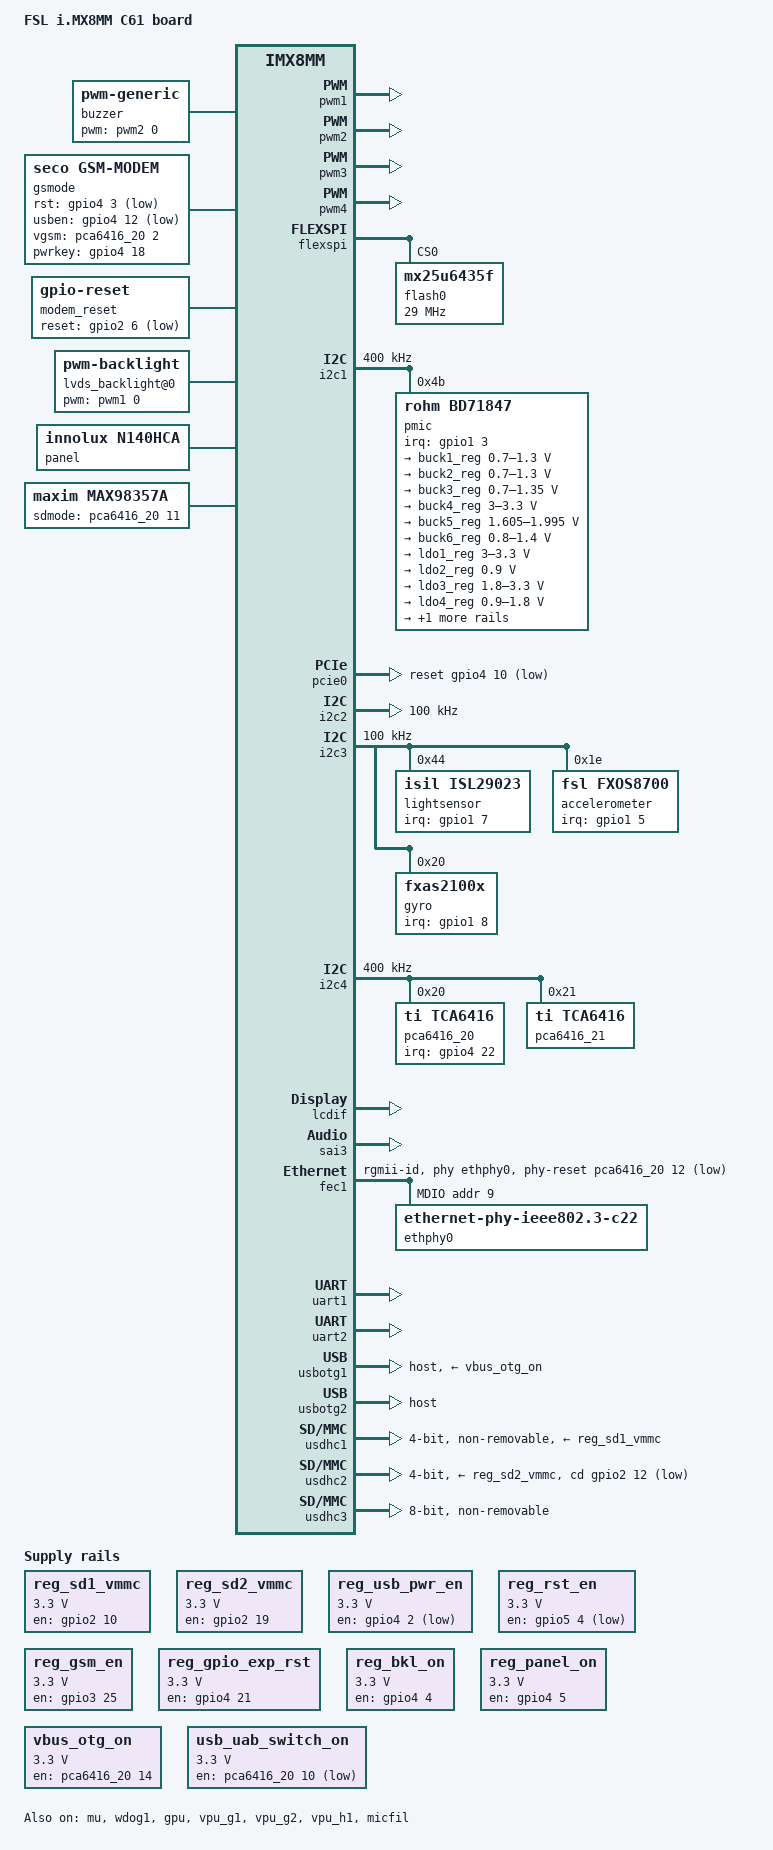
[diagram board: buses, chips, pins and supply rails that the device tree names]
/*
 * Copyright 2018 NXP
 *
 * This program is free software; you can redistribute it and/or
 * modify it under the terms of the GNU General Public License
 * as published by the Free Software Foundation; either version 2
 * of the License, or (at your option) any later version.
 *
 * This program is distributed in the hope that it will be useful,
 * but WITHOUT ANY WARRANTY; without even the implied warranty of
 * MERCHANTABILITY or FITNESS FOR A PARTICULAR PURPOSE.  See the
 * GNU General Public License for more details.
 */

/dts-v1/;

#include <dt-bindings/usb/pd.h>
#include "seco-imx8mm.dtsi"
#include "dt-bindings/net/ti-dp83867.h"

/ {
	model = "FSL i.MX8MM C61 board";
	compatible = "fsl,imx8mm-evk","seco,seco-imx8mm-c61", "fsl,imx8mm";

	chosen {
		bootargs = "console=ttymxc1,115200 earlycon=ec_imx6q,0x30890000,115200";
		stdout-path = &uart2;
	};

        apx_wdog: apxwdog {
                /* 
                 * Low Level Init for: 
                 * SAI1_TXD6 = WD_EN
                 * SAI1_TXD7 = WD_TRG
                */
                compatible = "seco,apx-wdog";
                apx,trigger_iomux   = <0x30330148>;
                apx,trigger_padctrl = <0x303303b0>;
                apx,trigger_base    = <0x30220000>;
                apx,trigger_num     = <21>;
                apx,en_iomux        = <0x3033014c>;
                apx,en_padctrl      = <0x303203b4>;
                apx,en_base         = <0x30220000>;
                apx,en_num          = <22>;
                apx,state           = <1>;
        };

        buzzer {
                compatible      = "pwm-generic";
                pwms = <&pwm2 0 500000000>;
                pinctrl-0     = <&pinctrl_pwm2_out>;
                max-duty        = <255>;
                dft-duty        = <128>;
                pwm-period-ns   = <5000000>;
                period-ns-min   = <150>;
                period-ns-max   = <50000000>;
                pwm-id          = <1>;
                enable          = <0>;
        };
	
	gsmode {
		compatible = "seco,gsm-modem";
		pinctrl-names = "default";
		pinctrl-0     = <&pinctrl_gsm_modem>;
		rst-gpios = <&gpio4 3 GPIO_ACTIVE_LOW>; 
		usben-gpios = <&gpio4 12 GPIO_ACTIVE_LOW>;
		vgsm-gpios = <&pca6416_20 2 GPIO_ACTIVE_HIGH>;
		pwrkey-gpios = <&gpio4 18 GPIO_ACTIVE_HIGH>;
		status = "okay";
	};

	modem_reset: modem-reset {
		compatible = "gpio-reset";
		reset-gpios = <&gpio2 6 GPIO_ACTIVE_LOW>;
		reset-delay-us = <2000>;
		reset-post-delay-ms = <40>;
		#reset-cells = <0>;
	};

	regulators {
		compatible = "simple-bus";
		#address-cells = <1>;
		#size-cells = <0>;

		reg_sd1_vmmc: sd1_regulator {
			compatible = "regulator-fixed";
			regulator-name = "WLAN_EN";
			regulator-min-microvolt = <3300000>;
			regulator-max-microvolt = <3300000>;
			gpio = <&gpio2 10 GPIO_ACTIVE_HIGH>;
			off-on-delay = <20000>;
			startup-delay-us = <100>;
			enable-active-high;
		};

		reg_sd2_vmmc: sd2_regulator {
			compatible = "regulator-fixed";
			regulator-name = "SD2 PWR_EN";
			regulator-min-microvolt = <3300000>;
			regulator-max-microvolt = <3300000>;
			gpio = <&gpio2 19 GPIO_ACTIVE_HIGH>;
			off-on-delay = <20000>;
			startup-delay-us = <100>;
			enable-active-high;
		};

		reg_usb_pwr_en: usb2_pwren_regulator {
			compatible = "regulator-fixed";
			regulator-name = "USB_PWR_EN";
			regulator-min-microvolt = <3300000>;
			regulator-max-microvolt = <3300000>;
			gpio = <&gpio4 2 GPIO_ACTIVE_HIGH>;
			enable-active-low;
			regulator-boot-on;
                        regulator-always-on;
		};

		reg_rst_en: rsten_regulator {
			compatible = "regulator-fixed";
			regulator-name = "RST_EN";
			regulator-min-microvolt = <3300000>;
			regulator-max-microvolt = <3300000>;
			gpio = <&gpio5 4 GPIO_ACTIVE_HIGH>;
			enable-active-low;
			regulator-boot-on;
                        regulator-always-on;
		};

		reg_gsm_en: gsmen_regulator {
			compatible = "regulator-fixed";
			regulator-name = "GSM_EN";
			regulator-min-microvolt = <3300000>;
			regulator-max-microvolt = <3300000>;
			gpio = <&gpio3 25 GPIO_ACTIVE_HIGH>;
			enable-active-high;
			regulator-boot-on;
                        regulator-always-on;
		};

		reg_gpio_exp_rst: gpio_exp_reset {
			compatible = "regulator-fixed";
			regulator-name = "GPIO_EXPANDER_RST";
			regulator-min-microvolt = <3300000>;
			regulator-max-microvolt = <3300000>;
			gpio = <&gpio4 21 GPIO_ACTIVE_HIGH>;
			enable-active-high;
			regulator-boot-on;
                        regulator-always-on;
		};

		reg_bkl_on: bklon {
                        compatible = "regulator-fixed";
                        regulator-name = "BKL ON";
                        regulator-min-microvolt = <3300000>;
                        regulator-max-microvolt = <3300000>;
                        gpio = <&gpio4 4 GPIO_ACTIVE_HIGH>;
			off-on-delay = <20000>;
                        startup-delay-us = <1000>;
                        enable-active-high;
                        regulator-always-on;
			regulator-boot-on;
                };

		reg_panel_on: panelon {
                        compatible = "regulator-fixed";
                        regulator-name = "PANEL ON";
                        regulator-min-microvolt = <3300000>;
                        regulator-max-microvolt = <3300000>;
                        gpio = <&gpio4 5 GPIO_ACTIVE_HIGH>;
                        enable-active-high;
                        regulator-always-on;
			regulator-boot-on;
                };

		vbus_otg_on: vbusotgon {
                        compatible = "regulator-fixed";
                        regulator-name = "VBUS_OTG_ON";
                        regulator-min-microvolt = <3300000>;
                        regulator-max-microvolt = <3300000>;
                        gpio = <&pca6416_20 14 GPIO_ACTIVE_HIGH>;
                        enable-active-high;
                        regulator-always-on;
                };
		/* 
		 * MODEM Switch regulator is enabled by dtbo 
		 * when modem is present
		 */
		usb_uab_switch_on: usbuabon {
                        compatible = "regulator-fixed";
                        regulator-name = "USB_UAB_SWITCH_ON";
                        regulator-min-microvolt = <3300000>;
                        regulator-max-microvolt = <3300000>;
                        gpio = <&pca6416_20 10 GPIO_ACTIVE_LOW>;
	                enable-active-low;
                };


	};

		lvds_backlight@0 {
			compatible = "pwm-backlight";
			pwms = <&pwm1 0 50000>;

			brightness-levels = < 0  1  2  3  4  5  6  7  8  9
					     10 11 12 13 14 15 16 17 18 19
					     20 21 22 23 24 25 26 27 28 29
					     30 31 32 33 34 35 36 37 38 39
					     40 41 42 43 44 45 46 47 48 49
					     50 51 52 53 54 55 56 57 58 59
					     60 61 62 63 64 65 66 67 68 69
					     70 71 72 73 74 75 76 77 78 79
					     80 81 82 83 84 85 86 87 88 89
					     90 91 92 93 94 95 96 97 98 99
					    100>;
			default-brightness-level = <100>;
		};

                panel: edp_panel {
                        compatible = "innolux,n140hca";
                        #address-cells = <1>;
                        #size-cells = <0>;
                };

	max98357a: max98357a@0 {
                compatible = "maxim,max98357a";
                pinctrl-names = "default";
                sdmode-gpios = <&pca6416_20 11 GPIO_ACTIVE_HIGH>;
                sdmode-delay = <2>;
                #sound-dai-cells = <0>;
                status = "okay";
        };

	sound {
		compatible = "simple-audio-card";
		simple-audio-card,name = "max98457a";
		simple-audio-card,format = "i2s";
		simple-audio-card,widgets = "Speaker", "Speakers";
		simple-audio-card,routing = "Speakers", "Speaker";
		simple-audio-card,bitclock-master = <&cpu_dai>;
		simple-audio-card,frame-master = <&cpu_dai>;
		    
		cpu_dai: simple-audio-card,cpu {
			sound-dai = <&sai3>;
		};
		codec_dai: simple-audio-card,codec {
			sound-dai = <&max98357a>;
		};
	};
	
	sound-micfil {
                compatible = "fsl,imx-audio-micfil";
                model = "imx-audio-micfil";
                cpu-dai = <&micfil>;
        };
};

&clk {
	assigned-clocks = <&clk IMX8MM_AUDIO_PLL1>, <&clk IMX8MM_AUDIO_PLL2>;
	assigned-clock-rates = <786432000>, <722534400>;
};

&iomuxc {
	pinctrl-names = "default";
	pinctrl-0 = <&pinctrl_hog &pinctrl_io_header_p1 &pinctrl_io_header_p2>;

	seco-imx8mm-c61 {
		pinctrl_hog: hoggrp {
                        fsl,pins = <
				MX8MM_IOMUXC_SAI1_RXD6_GPIO4_IO8		0x19
				MX8MM_IOMUXC_SAI2_MCLK_GPIO4_IO27		0x0
				MX8MM_IOMUXC_SAI5_MCLK_GPIO3_IO25		0x19
				/* GPIO EXPANDER RESET */
				MX8MM_IOMUXC_SAI2_RXFS_GPIO4_IO21		0x19
				/* USB HUB RESET */
				MX8MM_IOMUXC_SAI1_RXD0_GPIO4_IO2		0x19
				/* EDP Power Down Bridge Enable */
				MX8MM_IOMUXC_GPIO1_IO11_GPIO1_IO11		0x19
				MX8MM_IOMUXC_SAI1_RXD2_GPIO4_IO4		0x19
				MX8MM_IOMUXC_SAI1_RXD3_GPIO4_IO5		0x19
				/* LEDS */
				MX8MM_IOMUXC_SAI1_TXD2_GPIO4_IO14		0x19 /* BLUE1 GATE GPIO 110*/
				MX8MM_IOMUXC_SAI1_TXD4_GPIO4_IO16		0x19 /* RED1 GATE GPIO 112*/
				MX8MM_IOMUXC_SAI1_RXD5_GPIO4_IO7		0x19 /* GREEN1 GATE GPIO 103 */
				
				MX8MM_IOMUXC_SAI1_TXC_GPIO4_IO11		0x0 /* EXT_PCIE_WAKE */ 	
				MX8MM_IOMUXC_SAI3_RXFS_GPIO4_IO28		0x0 /* RTC_INT */
			>;
		};

		pinctrl_io_header_p1: io_header_p1_grp {
                        fsl,pins = <
                        >;
                };

		pinctrl_io_header_p2: io_header_p2_grp {
                        fsl,pins = <
                        >;
                };

		pinctrl_csi_pwn: csi_pwn_grp {
			fsl,pins = <
				MX8MM_IOMUXC_SD1_STROBE_GPIO2_IO11 		0x19
			>;
		};

		pinctrl_csi_rst: csi_rst_grp {
			fsl,pins = <
				MX8MM_IOMUXC_SD1_DATA7_GPIO2_IO9 		0x19
			>;
		};

		pinctrl_mipi_dsi_en: mipi_dsi_en {
			fsl,pins = <
				MX8MM_IOMUXC_GPIO1_IO08_GPIO1_IO8		0x16
			>;
		};

		pinctrl_i2c2_synaptics_dsx_io: synaptics_dsx_iogrp {
			fsl,pins = <
				MX8MM_IOMUXC_GPIO1_IO09_GPIO1_IO9		0x19	/* Touch int */
			>;
		};

		pinctrl_fec1: fec1grp {
			fsl,pins = <
                                MX8MM_IOMUXC_ENET_MDC_ENET1_MDC         0x3
                                MX8MM_IOMUXC_ENET_MDIO_ENET1_MDIO       0x3
                                MX8MM_IOMUXC_ENET_TD3_ENET1_RGMII_TD3   0x1f
                                MX8MM_IOMUXC_ENET_TD2_ENET1_RGMII_TD2   0x1f
                                MX8MM_IOMUXC_ENET_TD1_ENET1_RGMII_TD1   0x1f
                                MX8MM_IOMUXC_ENET_TD0_ENET1_RGMII_TD0   0x1f
                                MX8MM_IOMUXC_ENET_RD3_ENET1_RGMII_RD3   0x91
                                MX8MM_IOMUXC_ENET_RD2_ENET1_RGMII_RD2   0x91
                                MX8MM_IOMUXC_ENET_RD1_ENET1_RGMII_RD1   0x91
                                MX8MM_IOMUXC_ENET_RD0_ENET1_RGMII_RD0   0x91
                                MX8MM_IOMUXC_ENET_TXC_ENET1_RGMII_TXC   0x1f
                                MX8MM_IOMUXC_ENET_RXC_ENET1_RGMII_RXC   0x91
                                MX8MM_IOMUXC_ENET_RX_CTL_ENET1_RGMII_RX_CTL     0x91
                                MX8MM_IOMUXC_ENET_TX_CTL_ENET1_RGMII_TX_CTL     0x1f

			>;
		};

		pinctrl_flexspi0: flexspi0grp {
			fsl,pins = <
				MX8MM_IOMUXC_NAND_ALE_QSPI_A_SCLK		0x1c2
				MX8MM_IOMUXC_NAND_CE0_B_QSPI_A_SS0_B		0x82
				MX8MM_IOMUXC_NAND_DATA00_QSPI_A_DATA0		0x82
				MX8MM_IOMUXC_NAND_DATA01_QSPI_A_DATA1		0x82
				MX8MM_IOMUXC_NAND_DATA02_QSPI_A_DATA2		0x82
				MX8MM_IOMUXC_NAND_DATA03_QSPI_A_DATA3		0x82
			>;
		};

		pinctrl_i2c1: i2c1grp {
			fsl,pins = <
				MX8MM_IOMUXC_I2C1_SCL_I2C1_SCL			0x400001c3
				MX8MM_IOMUXC_I2C1_SDA_I2C1_SDA			0x400001c3
			>;
		};

		pinctrl_i2c2: i2c2grp {
			fsl,pins = <
				MX8MM_IOMUXC_I2C2_SCL_I2C2_SCL			0x400001c3
				MX8MM_IOMUXC_I2C2_SDA_I2C2_SDA			0x400001c3
			>;
		};

		pinctrl_i2c3: i2c3grp {
			fsl,pins = <
				MX8MM_IOMUXC_I2C3_SCL_I2C3_SCL			0x400001c3
				MX8MM_IOMUXC_I2C3_SDA_I2C3_SDA			0x400001c3
			>;
		};

		pinctrl_i2c4: i2c4grp {
			fsl,pins = <
				MX8MM_IOMUXC_I2C4_SCL_I2C4_SCL			0x400001c3
				MX8MM_IOMUXC_I2C4_SDA_I2C4_SDA			0x400001c3
			>;
		};

		pinctrl_pmic: pmicirq {
			fsl,pins = <
				MX8MM_IOMUXC_GPIO1_IO03_GPIO1_IO3		0x41
			>;
		};

		pinctrl_uart1: uart1grp {
			fsl,pins = <
				MX8MM_IOMUXC_UART1_RXD_UART1_DCE_RX	0x140
				MX8MM_IOMUXC_UART1_TXD_UART1_DCE_TX	0x140
				MX8MM_IOMUXC_UART3_RXD_UART1_DCE_CTS_B	0x140
				MX8MM_IOMUXC_UART3_TXD_UART1_DCE_RTS_B	0x140
				MX8MM_IOMUXC_SD1_DATA4_GPIO2_IO6	0x19
			>;
		};

		pinctrl_uart2: uart2grp {
			fsl,pins = <
				MX8MM_IOMUXC_UART2_RXD_UART2_DCE_RX	0x140
				MX8MM_IOMUXC_UART2_TXD_UART2_DCE_TX	0x140
			>;
		};

		pinctrl_spi1: spi1grp {
			fsl,pins = <
				MX8MM_IOMUXC_ECSPI1_SCLK_ECSPI1_SCLK		0x140
				MX8MM_IOMUXC_ECSPI1_MOSI_ECSPI1_MOSI 		0x140
				MX8MM_IOMUXC_ECSPI1_SS0_GPIO5_IO9 		0x140
				MX8MM_IOMUXC_ECSPI1_MISO_ECSPI1_MISO 		0x140
			>;
		};

		pinctrl_can1_int: can1grp {
			fsl,pins = <
				MX8MM_IOMUXC_SAI3_RXD_GPIO4_IO30 		0x41
			>;
		};

		pinctrl_spi2: spi2grp {
			fsl,pins = <
				MX8MM_IOMUXC_ECSPI2_SCLK_ECSPI2_SCLK		0x140
				MX8MM_IOMUXC_ECSPI2_MOSI_ECSPI2_MOSI 		0x140
				MX8MM_IOMUXC_ECSPI2_SS0_GPIO5_IO13		0x140
				MX8MM_IOMUXC_ECSPI2_MISO_ECSPI2_MISO 		0x140
				MX8MM_IOMUXC_SPDIF_RX_GPIO5_IO4			0x140
			>;
		};

                pinctrl_can2_int: can2grp {
                        fsl,pins = <
                                MX8MM_IOMUXC_SAI3_RXC_GPIO4_IO29		0x41
                        >;
                };

		pinctrl_uart3: uart3grp {
			fsl,pins = <
				MX8MM_IOMUXC_ECSPI1_SCLK_UART3_DCE_RX		0x140
				MX8MM_IOMUXC_ECSPI1_MOSI_UART3_DCE_TX		0x140
				MX8MM_IOMUXC_ECSPI1_MISO_UART3_DCE_CTS_B	0x140
				MX8MM_IOMUXC_ECSPI1_SS0_UART3_DCE_RTS_B		0x140	
			>;
		};

		pinctrl_uart4: uart4grp {
			fsl,pins = <
				MX8MM_IOMUXC_ECSPI2_SCLK_UART4_DCE_RX		0x140
				MX8MM_IOMUXC_ECSPI2_MOSI_UART4_DCE_TX		0x140
				MX8MM_IOMUXC_ECSPI2_MISO_UART4_DCE_CTS_B	0x140
				MX8MM_IOMUXC_ECSPI2_SS0_UART4_DCE_RTS_B		0x140	
			>;
		};

		pinctrl_usdhc1_gpio: usdhc1grpgpio {
			fsl,pins = <
				MX8MM_IOMUXC_SD1_RESET_B_GPIO2_IO10	0x41
				MX8MM_IOMUXC_GPIO1_IO00_ANAMIX_REF_CLK_32K 0x0
			>;
		};

		pinctrl_usdhc1: usdhc1grp {
			fsl,pins = <
				MX8MM_IOMUXC_SD1_CLK_USDHC1_CLK		0x190
				MX8MM_IOMUXC_SD1_CMD_USDHC1_CMD		0x1d0
				MX8MM_IOMUXC_SD1_DATA0_USDHC1_DATA0	0x1d0
				MX8MM_IOMUXC_SD1_DATA1_USDHC1_DATA1	0x1d0
				MX8MM_IOMUXC_SD1_DATA2_USDHC1_DATA2	0x1d0
				MX8MM_IOMUXC_SD1_DATA3_USDHC1_DATA3	0x1d0
			>;
		};

		pinctrl_usdhc1_100mhz: usdhc1grp100mhz {
			fsl,pins = <
				MX8MM_IOMUXC_SD1_CLK_USDHC1_CLK		0x194
				MX8MM_IOMUXC_SD1_CMD_USDHC1_CMD		0x1d4
				MX8MM_IOMUXC_SD1_DATA0_USDHC1_DATA0	0x1d4
				MX8MM_IOMUXC_SD1_DATA1_USDHC1_DATA1	0x1d4
				MX8MM_IOMUXC_SD1_DATA2_USDHC1_DATA2	0x1d4
				MX8MM_IOMUXC_SD1_DATA3_USDHC1_DATA3	0x1d4
			>;
		};

		pinctrl_usdhc1_200mhz: usdhc1grp200mhz {
			fsl,pins = <
				MX8MM_IOMUXC_SD1_CLK_USDHC1_CLK		0x196
				MX8MM_IOMUXC_SD1_CMD_USDHC1_CMD		0x1d6
				MX8MM_IOMUXC_SD1_DATA0_USDHC1_DATA0	0x1d6
				MX8MM_IOMUXC_SD1_DATA1_USDHC1_DATA1	0x1d6
				MX8MM_IOMUXC_SD1_DATA2_USDHC1_DATA2	0x1d6
				MX8MM_IOMUXC_SD1_DATA3_USDHC1_DATA3	0x1d6
			>;
		};

		pinctrl_usdhc2: usdhc2grp {
			fsl,pins = <
				MX8MM_IOMUXC_SD2_CLK_USDHC2_CLK		0x190
				MX8MM_IOMUXC_SD2_CMD_USDHC2_CMD		0x1d0
				MX8MM_IOMUXC_SD2_DATA0_USDHC2_DATA0	0x1d0
				MX8MM_IOMUXC_SD2_DATA1_USDHC2_DATA1	0x1d0
				MX8MM_IOMUXC_SD2_DATA2_USDHC2_DATA2	0x1d0
				MX8MM_IOMUXC_SD2_DATA3_USDHC2_DATA3	0x1d0
				MX8MM_IOMUXC_SD2_CD_B_GPIO2_IO12	0x1c4
				MX8MM_IOMUXC_GPIO1_IO04_USDHC2_VSELECT	0x1d0
				MX8MM_IOMUXC_SD2_RESET_B_GPIO2_IO19	0x19
			>;
		};

		pinctrl_usdhc2_100mhz: usdhc2grp100mhz {
			fsl,pins = <
				MX8MM_IOMUXC_SD2_CLK_USDHC2_CLK		0x194
				MX8MM_IOMUXC_SD2_CMD_USDHC2_CMD		0x1d4
				MX8MM_IOMUXC_SD2_DATA0_USDHC2_DATA0	0x1d4
				MX8MM_IOMUXC_SD2_DATA1_USDHC2_DATA1	0x1d4
				MX8MM_IOMUXC_SD2_DATA2_USDHC2_DATA2	0x1d4
				MX8MM_IOMUXC_SD2_DATA3_USDHC2_DATA3	0x1d4
				MX8MM_IOMUXC_SD2_CD_B_GPIO2_IO12	0x1c4
				MX8MM_IOMUXC_GPIO1_IO04_USDHC2_VSELECT	0x1d0
				MX8MM_IOMUXC_SD2_RESET_B_GPIO2_IO19	0x19
			>;
		};

		pinctrl_usdhc2_200mhz: usdhc2grp200mhz {
			fsl,pins = <
				MX8MM_IOMUXC_SD2_CLK_USDHC2_CLK		0x196
				MX8MM_IOMUXC_SD2_CMD_USDHC2_CMD		0x1d6
				MX8MM_IOMUXC_SD2_DATA0_USDHC2_DATA0	0x1d6
				MX8MM_IOMUXC_SD2_DATA1_USDHC2_DATA1	0x1d6
				MX8MM_IOMUXC_SD2_DATA2_USDHC2_DATA2	0x1d6
				MX8MM_IOMUXC_SD2_DATA3_USDHC2_DATA3	0x1d6
				MX8MM_IOMUXC_SD2_CD_B_GPIO2_IO12	0x1c4
				MX8MM_IOMUXC_GPIO1_IO04_USDHC2_VSELECT	0x1d0
				MX8MM_IOMUXC_SD2_RESET_B_GPIO2_IO19	0x19
			>;
		};

		pinctrl_usdhc3: usdhc3grp {
			fsl,pins = <
				MX8MM_IOMUXC_NAND_WE_B_USDHC3_CLK		0x190
				MX8MM_IOMUXC_NAND_WP_B_USDHC3_CMD		0x1d0
				MX8MM_IOMUXC_NAND_DATA04_USDHC3_DATA0		0x1d0
				MX8MM_IOMUXC_NAND_DATA05_USDHC3_DATA1		0x1d0
				MX8MM_IOMUXC_NAND_DATA06_USDHC3_DATA2		0x1d0
				MX8MM_IOMUXC_NAND_DATA07_USDHC3_DATA3		0x1d0
				MX8MM_IOMUXC_NAND_RE_B_USDHC3_DATA4		0x1d0
				MX8MM_IOMUXC_NAND_CE2_B_USDHC3_DATA5		0x1d0
				MX8MM_IOMUXC_NAND_CE3_B_USDHC3_DATA6		0x1d0
				MX8MM_IOMUXC_NAND_CLE_USDHC3_DATA7		0x1d0
				MX8MM_IOMUXC_NAND_CE1_B_USDHC3_STROBE 		0x190
			>;
		};

		pinctrl_usdhc3_100mhz: usdhc3grp100mhz {
			fsl,pins = <
				MX8MM_IOMUXC_NAND_WE_B_USDHC3_CLK		0x194
				MX8MM_IOMUXC_NAND_WP_B_USDHC3_CMD		0x1d4
				MX8MM_IOMUXC_NAND_DATA04_USDHC3_DATA0		0x1d4
				MX8MM_IOMUXC_NAND_DATA05_USDHC3_DATA1		0x1d4
				MX8MM_IOMUXC_NAND_DATA06_USDHC3_DATA2		0x1d4
				MX8MM_IOMUXC_NAND_DATA07_USDHC3_DATA3		0x1d4
				MX8MM_IOMUXC_NAND_RE_B_USDHC3_DATA4		0x1d4
				MX8MM_IOMUXC_NAND_CE2_B_USDHC3_DATA5		0x1d4
				MX8MM_IOMUXC_NAND_CE3_B_USDHC3_DATA6		0x1d4
				MX8MM_IOMUXC_NAND_CLE_USDHC3_DATA7		0x1d4
				MX8MM_IOMUXC_NAND_CE1_B_USDHC3_STROBE 		0x194
			>;
		};

		pinctrl_usdhc3_200mhz: usdhc3grp200mhz {
			fsl,pins = <
				MX8MM_IOMUXC_NAND_WE_B_USDHC3_CLK		0x196
				MX8MM_IOMUXC_NAND_WP_B_USDHC3_CMD		0x1d6
				MX8MM_IOMUXC_NAND_DATA04_USDHC3_DATA0		0x1d6
				MX8MM_IOMUXC_NAND_DATA05_USDHC3_DATA1		0x1d6
				MX8MM_IOMUXC_NAND_DATA06_USDHC3_DATA2		0x1d6
				MX8MM_IOMUXC_NAND_DATA07_USDHC3_DATA3		0x1d6
				MX8MM_IOMUXC_NAND_RE_B_USDHC3_DATA4		0x1d6
				MX8MM_IOMUXC_NAND_CE2_B_USDHC3_DATA5		0x1d6
				MX8MM_IOMUXC_NAND_CE3_B_USDHC3_DATA6		0x1d6
				MX8MM_IOMUXC_NAND_CLE_USDHC3_DATA7		0x1d6
				MX8MM_IOMUXC_NAND_CE1_B_USDHC3_STROBE 		0x196
			>;
		};

		pinctrl_wdog: wdoggrp {
			fsl,pins = <
				MX8MM_IOMUXC_GPIO1_IO02_WDOG1_WDOG_B		0xc6
			>;
		};

		pinctrl_touch_gpio: touchgpiogrp {
			fsl,pins = <
				MX8MM_IOMUXC_SAI5_RXFS_GPIO3_IO19		0x19 /* Touch reset */
				MX8MM_IOMUXC_SAI1_MCLK_GPIO4_IO20		0x19 /* Touch Interrupt */	
			>;
		};

		pinctrl_pwm1_out: pwm1outgrp {
			fsl,pins = <
				MX8MM_IOMUXC_SPDIF_EXT_CLK_PWM1_OUT 		0x4d	
			>;
		};

		pinctrl_pwm2_out: pwm2outgrp {
			fsl,pins = <
				MX8MM_IOMUXC_GPIO1_IO13_PWM2_OUT  		0x4d	
			>;
		};

		pinctrl_pwm3_out: pwm3outgrp {
			fsl,pins = <
				MX8MM_IOMUXC_SPDIF_TX_PWM3_OUT  		0x4d	
			>;
		};

		pinctrl_pwm4_out: pwm4outgrp {
			fsl,pins = <
				MX8MM_IOMUXC_SAI3_MCLK_PWM4_OUT   		0x4d	
			>;
		};

		pinctrl_i2c3_gpio: i2c3gpiogrp {
			fsl,pins = <
				MX8MM_IOMUXC_GPIO1_IO07_GPIO1_IO7		0x19 /* lightsensor interrupt */	
				MX8MM_IOMUXC_GPIO1_IO05_GPIO1_IO5		0x19 /* accelerometer interrupt */
				MX8MM_IOMUXC_GPIO1_IO08_GPIO1_IO8		0x19 /* gyrometer interrupt */
			>;
		};

		pinctrl_pcie0: pcie0grp {
			fsl,pins = <
				MX8MM_IOMUXC_SAI1_TXFS_GPIO4_IO10 		0x19 /* pcie0 reset */
				MX8MM_IOMUXC_SAI1_TXD1_GPIO4_IO13		0x19 /* pcie0 clk gen enable */
			>;
		};

                pinctrl_sai3: sai3grp {
                        fsl,pins = <
                                MX8MM_IOMUXC_SAI3_TXFS_SAI3_TX_SYNC     0xd6
                                MX8MM_IOMUXC_SAI3_TXC_SAI3_TX_BCLK      0xd6
                                MX8MM_IOMUXC_SAI3_TXD_SAI3_TX_DATA0     0xd6
                        >;
                };

		pinctrl_pdm: pdmgrp {
                        fsl,pins = <
				MX8MM_IOMUXC_SAI5_RXC_PDM_CLK           0xd6
				MX8MM_IOMUXC_SAI5_RXD2_PDM_DATA2        0xd6
				MX8MM_IOMUXC_SAI5_RXD3_PDM_DATA3        0xd6
                        >;
                };

		pinctrl_gsm_modem: gsmgrp {
			fsl,pins = <
				/* MODEM GSM */
				MX8MM_IOMUXC_SAI1_TXD6_GPIO4_IO18		0x19 /* MODEM GSM PWRKEY_EN */
				MX8MM_IOMUXC_SAI1_TXD0_GPIO4_IO12		0x19 /* MODEM USB_BOOT_EN */
				MX8MM_IOMUXC_SAI1_RXD1_GPIO4_IO3		0x19 /* MODEM RESET_EN */
			>;
		};

		pinctrl_pca6416_20: pca6416_20grp {
                        fsl,pins = <
                                MX8MM_IOMUXC_SAI2_RXC_GPIO4_IO22		0x19
                        >;
                };

	};
};

&pwm1 {
        pinctrl-names = "default";
        pinctrl-0 = <&pinctrl_pwm1_out>;
        status = "okay";
};

&pwm2 {
        pinctrl-names = "default";
        pinctrl-0 = <&pinctrl_pwm2_out>;
        status = "okay";
};

&pwm3 {
        pinctrl-names = "default";
        pinctrl-0 = <&pinctrl_pwm3_out>;
        status = "okay";
};

&pwm4 {
        pinctrl-names = "default";
        pinctrl-0 = <&pinctrl_pwm4_out>;
        status = "okay";
};

&mipi_csi_1 {
        #address-cells = <1>;
        #size-cells = <0>;
        status = "disabled";
        port {
                mipi1_sensor_ep: endpoint@1 {
                        remote-endpoint = <&ov5640_mipi1_ep>;
                        data-lanes = <2>;
                        csis-hs-settle = <13>;
                        csis-clk-settle = <2>;
                        csis-wclk;
                };

                csi1_mipi_ep: endpoint@2 {
                        remote-endpoint = <&csi1_ep>;
                };
        };
};

&csi1_bridge {
        fsl,mipi-mode;
        status = "disabled";
        port {
                csi1_ep: endpoint {
                        remote-endpoint = <&csi1_mipi_ep>;
                };
        };
};

&flexspi {
	pinctrl-names = "default";
	pinctrl-0 = <&pinctrl_flexspi0>;
	status = "okay";

	flash0: mx25u6435f@0 {
		reg = <0>;
		#address-cells = <1>;
		#size-cells = <1>;
		compatible = "mx25u6435f";
		spi-max-frequency = <29000000>;
//		spi-nor,ddr-quad-read-dummy = <6>;
	};
};

&i2c1 {
	clock-frequency = <400000>;
	pinctrl-names = "default";
	pinctrl-0 = <&pinctrl_i2c1>;
	status = "okay";

	pmic@4b {
		reg = <0x4b>;
		compatible = "rohm,bd71847";
		pinctrl-0 = <&pinctrl_pmic>;
		interrupt-parent = <&gpio1>;
		interrupts = <3 GPIO_ACTIVE_LOW>;
		rohm,reset-snvs-powered;

		regulators {
			#address-cells = <1>;
			#size-cells = <0>;

			buck1_reg: regulator@0 {
				reg = <0>;
				regulator-compatible = "BUCK1";
				regulator-min-microvolt = <700000>;
				regulator-max-microvolt = <1300000>;
				regulator-boot-on;
				regulator-always-on;
				regulator-ramp-delay = <1250>;
			};

			buck2_reg: regulator@1 {
				reg = <1>;
				regulator-compatible = "BUCK2";
				regulator-min-microvolt = <700000>;
				regulator-max-microvolt = <1300000>;
				regulator-boot-on;
				regulator-always-on;
				regulator-ramp-delay = <1250>;
				rohm,dvs-run-voltage = <1000000>;
				rohm,dvs-idle-voltage = <900000>;
			};

			buck3_reg: regulator@2 {
				// BUCK5 in datasheet
				reg = <2>;
				regulator-compatible = "BUCK3";
				regulator-min-microvolt = <700000>;
				regulator-max-microvolt = <1350000>;
				regulator-boot-on;
				regulator-always-on;
			};

			buck4_reg: regulator@3 {
				// BUCK6 in datasheet
				reg = <3>;
				regulator-compatible = "BUCK4";
				regulator-min-microvolt = <3000000>;
				regulator-max-microvolt = <3300000>;
				regulator-boot-on;
				regulator-always-on;
			};

			buck5_reg: regulator@4 {
				// BUCK7 in datasheet
				reg = <4>;
				regulator-compatible = "BUCK5";
				regulator-min-microvolt = <1605000>;
				regulator-max-microvolt = <1995000>;
				regulator-boot-on;
				regulator-always-on;
			};

			buck6_reg: regulator@5 {
				// BUCK8 in datasheet
				reg = <5>;
				regulator-compatible = "BUCK6";
				regulator-min-microvolt = <800000>;
				regulator-max-microvolt = <1400000>;
				regulator-boot-on;
				regulator-always-on;
			};

			ldo1_reg: regulator@6 {
				reg = <6>;
				regulator-compatible = "LDO1";
				regulator-min-microvolt = <3000000>;
				regulator-max-microvolt = <3300000>;
				regulator-boot-on;
				regulator-always-on;
			};

			ldo2_reg: regulator@7 {
				reg = <7>;
				regulator-compatible = "LDO2";
				regulator-min-microvolt = <900000>;
				regulator-max-microvolt = <900000>;
				regulator-boot-on;
				regulator-always-on;
			};

			ldo3_reg: regulator@8 {
				reg = <8>;
				regulator-compatible = "LDO3";
				regulator-min-microvolt = <1800000>;
				regulator-max-microvolt = <3300000>;
				regulator-boot-on;
				regulator-always-on;
			};

			ldo4_reg: regulator@9 {
				reg = <9>;
				regulator-compatible = "LDO4";
				regulator-min-microvolt = <900000>;
				regulator-max-microvolt = <1800000>;
				regulator-boot-on;
				regulator-always-on;
			};

			ldo6_reg: regulator@11 {
				reg = <11>;
				regulator-compatible = "LDO6";
				regulator-min-microvolt = <900000>;
				regulator-max-microvolt = <1800000>;
				regulator-boot-on;
				regulator-always-on;
			};
		};
	};
};

&pcie0{
        pinctrl-names = "default";
        pinctrl-0 = <&pinctrl_pcie0>;
	clkreq-gpio = <&gpio4 13 GPIO_ACTIVE_HIGH>;
        reset-gpio = <&gpio4 10 GPIO_ACTIVE_LOW>;
        ext_osc = <1>;
        status = "okay";
};


&i2c2 {
	clock-frequency = <100000>;
	pinctrl-names = "default";
	pinctrl-0 = <&pinctrl_i2c2>, <&pinctrl_touch_gpio>;
	status = "okay";
	
	eeprom@53 {
		compatible = "atmel,24c16";
		reg = <0x53>;
		status = "disabled";
	};

	ov5640_mipi: ov5640_mipi@3c {
                compatible = "ovti,ov5640_mipi";
                reg = <0x3c>;
                status = "disabled";
                pinctrl-names = "default";
                pinctrl-0 = <&pinctrl_csi_pwn>, <&pinctrl_csi_rst>;
                clocks = <&clk IMX8MM_CLK_CLKO1>;
                clock-names = "csi_mclk";
                assigned-clocks = <&clk IMX8MM_CLK_CLKO1>;
                assigned-clock-parents = <&clk IMX8MM_CLK_24M>;
                assigned-clock-rates = <24000000>;
                csi_id = <0>;
                pwn-gpios = <&gpio2 11 GPIO_ACTIVE_HIGH>;
                rst-gpios = <&gpio2 9 GPIO_ACTIVE_LOW>;
                mclk = <24000000>;
                mclk_source = <0>;
                port {
                        ov5640_mipi1_ep: endpoint {
                                remote-endpoint = <&mipi1_sensor_ep>;
                        };
                };
        };
};


&i2c3 {
	clock-frequency = <100000>;
	pinctrl-names = "default";
	pinctrl-0 = <&pinctrl_i2c3>, <&pinctrl_i2c3_gpio>;
	status = "okay";

	lightsensor: isl29023@44 {
		compatible = "isil,isl29023";
		reg = <0x44>;
		status = "okay";
		interrupt-parent = <&gpio1>;
	        interrupts = <7 IRQ_TYPE_LEVEL_LOW>;
	};

	accelerometer@1e {
		compatible = "fsl,fxos8700";
		status = "okay";
		reg = <0x1e>;
		interrupt-parent = <&gpio1>;
                interrupts = <5 IRQ_TYPE_LEVEL_LOW>;
	};

	gyro@20 {
		compatible = "fxas2100x";
		status = "okay";
		reg = <0x20>;
		interrupt-parent = <&gpio1>;
                interrupts = <8 IRQ_TYPE_LEVEL_LOW>;
	};
};

&i2c4 {
        clock-frequency = <400000>;
        pinctrl-names = "default";
        pinctrl-0 = <&pinctrl_i2c4>;
        status = "okay";

        pca6416_20: gpio@20 {
                compatible = "ti,tca6416";
                reg = <0x20>;
                gpio-controller;
                #gpio-cells = <2>;
		pinctrl-names = "default";
		pinctrl-0 = <&pinctrl_pca6416_20>;
		interrupt-parent = <&gpio4>;
		interrupts = <22 IRQ_TYPE_LEVEL_LOW>;
        };

        pca6416_21: gpio@21 {
                compatible = "ti,tca6416";
                reg = <0x21>;
                gpio-controller;
                #gpio-cells = <2>;
        };

        edp_bridge: sn65dsi86@2d {
		compatible = "ti,sn65dsi86";
                reg = <0x2d>;
		#address-cells = <1>;
                #size-cells = <0>;
                pd-gpios = <&gpio1 11 GPIO_ACTIVE_HIGH>;
		bkl-gpios = <&pca6416_20 5 GPIO_ACTIVE_HIGH>;
		lcd-gpios = <&pca6416_20 9 GPIO_ACTIVE_HIGH>;
		vcc-supply = <&reg_bkl_on>;
                clocks = <&osc_27m>;
		status = "disabled";

        };

	adv_bridge: sn65dsi84@2d {
                compatible = "ti,sn65dsi84";
                reg = <0x2d>;
		#address-cells = <1>;
                #size-cells = <0>;
                pd-gpios = <&gpio1 11 GPIO_ACTIVE_HIGH>;
		bkl-gpios = <&pca6416_20 5 GPIO_ACTIVE_HIGH>;
                lcd-gpios = <&pca6416_20 9 GPIO_ACTIVE_HIGH>;
                status = "disabled";
        };


};

&lcdif {
	status = "okay";
};

&mipi_dsi {
	status = "disabled";

};

&mu {
	status = "okay";
};


&sai3 {
        pinctrl-names = "default";
        pinctrl-0 = <&pinctrl_sai3>;
        assigned-clocks = <&clk IMX8MM_CLK_SAI3>;
        assigned-clock-parents = <&clk IMX8MM_AUDIO_PLL1_OUT>;
        assigned-clock-rates = <24576000>;
	fsl,sai-mclk-direction-output;
	fsl,sai-synchronous-rx;
	#sound-dai-cells = <0>;
        status = "okay";
};

&fec1 {
	pinctrl-names = "default";
	pinctrl-0 = <&pinctrl_fec1>;
	phy-mode = "rgmii-id";
	phy-handle = <&ethphy0>;
	phy-reset-gpios = <&pca6416_20 12 GPIO_ACTIVE_LOW>;
	phy-reset-duration = <1>;

	status = "okay";

	mdio {
                #address-cells = <1>;
                #size-cells = <0>;

                ethphy0: ethernet-phy@9 {
                        compatible = "ethernet-phy-ieee802.3-c22";
                        reg = <9>;
                        ti,rx-internal-delay = <DP83867_RGMIIDCTL_2_00_NS>;
                        ti,tx-internal-delay = <DP83867_RGMIIDCTL_2_00_NS>;
                        ti,fifo-depth = <DP83867_PHYCR_FIFO_DEPTH_8_B_NIB>;
                        ti,leds-conf = <0xbb58>;
                        ti,leds-polarity = <0x444>;

                };
        };


};

&uart1 { /* BT */
	pinctrl-names = "default";
	pinctrl-0 = <&pinctrl_uart1>;
	assigned-clocks = <&clk IMX8MM_CLK_UART1>;
	assigned-clock-parents = <&clk IMX8MM_SYS_PLL1_80M>;
	fsl,uart-has-rtscts;
	resets = <&modem_reset>;
	status = "okay";
};

&uart2 { /* console */
	pinctrl-names = "default";
	pinctrl-0 = <&pinctrl_uart2>;
	status = "okay";
};

&uart3 { 
	pinctrl-names = "default";
	pinctrl-0 = <&pinctrl_uart3>;
	assigned-clocks = <&clk IMX8MM_CLK_UART3>;
	assigned-clock-parents = <&clk IMX8MM_SYS_PLL1_80M>;
	fsl,uart-has-rtscts;
	status = "disabled";
};

&uart4 { 
	pinctrl-names = "default";
	pinctrl-0 = <&pinctrl_uart4>;
	assigned-clocks = <&clk IMX8MM_CLK_UART4>;
	assigned-clock-parents = <&clk IMX8MM_SYS_PLL1_80M>;
	fsl,uart-has-rtscts;
	status = "disabled";
};

&ecspi1 {
        fsl,spi-num-chipselects = <1>;
        cs-gpios = <&gpio5 9 0>;
        pinctrl-names = "default";
        pinctrl-0 = <&pinctrl_spi1>;
        #address-cells = <1>;
        #size-cells = <0>;
        status = "disabled";

        can_spi1: mcp258x@0 {
                compatible = "microchip,mcp2517fd";
                pinctrl-names = "default";
                pinctrl-0 = <&pinctrl_can1_int>;
                reg = <0>;
                #address-cells = <1>;
                #size-cells = <1>;
                interrupt-parent = <&gpio4>;
                interrupts = <30 IRQ_TYPE_EDGE_FALLING>;
                spi-max-frequency = <10000000>;
                clocks = <&mcp251x_clock>;
                status = "disabled";
        };

};

&ecspi2 {
        spi-num-chipselects = <2>;
        cs-gpios = <&gpio5 13 GPIO_ACTIVE_LOW>, <&gpio5 4 GPIO_ACTIVE_HIGH>;
        pinctrl-names = "default";
        pinctrl-0 = <&pinctrl_spi2>;
        #address-cells = <1>;
        #size-cells = <0>;
        status = "disabled";

        can_spi2: mcp258x@0 {
                compatible = "microchip,mcp2517fd";
                pinctrl-names = "default";
                pinctrl-0 = <&pinctrl_can2_int>;
                reg = <0>;
                #address-cells = <1>;
                #size-cells = <1>;
                interrupt-parent = <&gpio4>;
                interrupts = <29 IRQ_TYPE_EDGE_FALLING>;
                spi-max-frequency = <10000000>;
                clocks = <&mcp251x_clock>;
                status = "disabled";
        };

        rtc: pcf2123@1 {
                compatible        = "nxp,rtc-pcf2123";
                reg               = <1>;
                #address-cells = <1>;
                #size-cells = <1>;
                spi-max-frequency = <1000000>;
                spi-cs-high;
                status = "disabled";
        };

};

&usbotg1 {
	vbus-supply = <&vbus_otg_on>;
	dr_mode = "host";
	status = "okay";
};

&usbotg2 {
	dr_mode = "host";
	status = "okay";
};

&usdhc1 {
	pinctrl-names = "default", "state_100mhz", "state_200mhz";
	pinctrl-0 = <&pinctrl_usdhc1>, <&pinctrl_usdhc1_gpio>;
	pinctrl-1 = <&pinctrl_usdhc1_100mhz>, <&pinctrl_usdhc1_gpio>;
	pinctrl-2 = <&pinctrl_usdhc1_200mhz>, <&pinctrl_usdhc1_gpio>;
	bus-width = <4>;
	vmmc-supply = <&reg_sd1_vmmc>;
	pm-ignore-notify;
	keep-power-in-suspend;
	non-removable;
	status = "okay";
};

&usdhc2 {
	pinctrl-names = "default", "state_100mhz", "state_200mhz";
	pinctrl-0 = <&pinctrl_usdhc2>;
	pinctrl-1 = <&pinctrl_usdhc2_100mhz>;
	pinctrl-2 = <&pinctrl_usdhc2_200mhz>;
	vmmc-supply = <&reg_sd2_vmmc>;
	bus-width = <4>;
	cd-gpios = <&gpio2 12 GPIO_ACTIVE_LOW>;
	status = "okay";
};

&usdhc3 {
	pinctrl-names = "default", "state_100mhz", "state_200mhz";
	pinctrl-0 = <&pinctrl_usdhc3>;
	pinctrl-1 = <&pinctrl_usdhc3_100mhz>;
	pinctrl-2 = <&pinctrl_usdhc3_200mhz>;
	bus-width = <8>;
	non-removable;
	status = "okay";
};

&wdog1 {
	pinctrl-names = "default";
	pinctrl-0 = <&pinctrl_wdog>;
	fsl,ext-reset-output;
	status = "okay";
};

&A53_0 {
	arm-supply = <&buck2_reg>;
};

&gpu {
	status = "okay";
};

&vpu_g1 {
	status = "okay";
};

&vpu_g2 {
	status = "okay";
};

&vpu_h1 {
	status = "okay";
};

&micfil {
        pinctrl-names = "default";
        pinctrl-0 = <&pinctrl_pdm>;
        assigned-clocks = <&clk IMX8MM_CLK_PDM>;
        assigned-clock-parents = <&clk IMX8MM_AUDIO_PLL1_OUT>;
        assigned-clock-rates = <196608000>;
        status = "okay";
};

